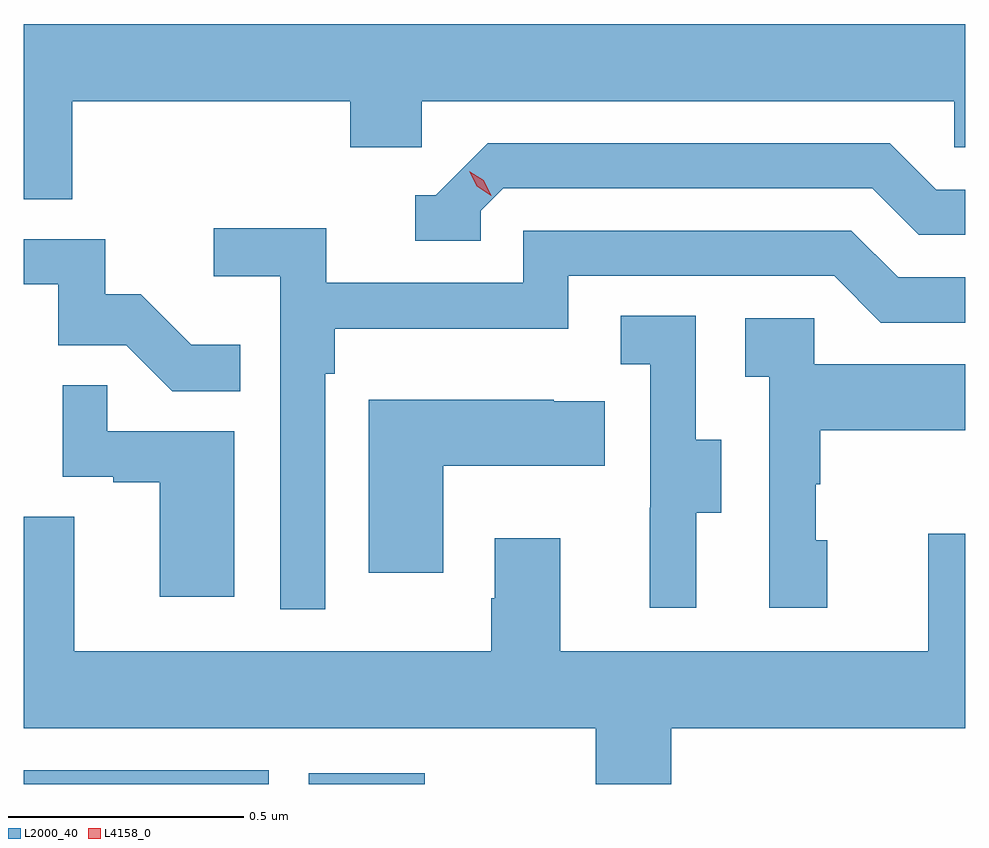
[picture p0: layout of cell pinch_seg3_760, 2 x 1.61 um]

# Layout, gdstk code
import gdstk
lib = gdstk.Library(unit=1e-6, precision=1e-09)
def R(c, l, rs):  # rectangles x0, y0, x1, y1
    for r in rs: c.add(gdstk.rectangle(r[:2], r[2:], *l))
def P(c, l, *ps):  # polygons
    for p in ps: c.add(gdstk.Polygon(p, *l))
L2000_40 = (2000, 40)
L4158_0 = (4158, 0)

pinch_seg3_760 = lib.new_cell('pinch_seg3_760')
R(pinch_seg3_760, L2000_40, [(853.921,739.426,854.442,739.455), (854.527,739.426,854.773,739.449)])
P(pinch_seg3_760, L2000_40, [(854.024,740.876),(854.615,740.876),(854.615,740.778),(854.766,740.778),(854.766,740.876),(855.897,740.876),(855.897,740.778),(855.921,740.778),(855.921,741.04),(853.921,741.04),(853.921,740.668),(854.024,740.668)],
  [(854.892,740.643),(854.94,740.691),(855.723,740.691),(855.822,740.592),(855.921,740.592),(855.921,740.688),(855.859,740.688),(855.76,740.787),(854.907,740.787),(854.796,740.676),(854.753,740.676),(854.753,740.58),(854.892,740.58)],
  [(854.562,740.297),(854.582,740.297),(854.582,740.393),(855.078,740.393),(855.078,740.505),(855.642,740.505),(855.741,740.406),(855.921,740.406),(855.921,740.502),(855.778,740.502),(855.679,740.601),(854.982,740.601),(854.982,740.49),(854.564,740.49),(854.564,740.606),(854.325,740.606),(854.325,740.504),(854.466,740.504),(854.466,739.797),(854.562,739.797)],
  [(854.381,740.359),(854.277,740.359),(854.17,740.466),(854.094,740.466),(854.094,740.583),(853.921,740.583),(853.921,740.487),(853.995,740.487),(853.995,740.358),(854.139,740.358),(854.237,740.26),(854.381,740.26)],
  [(855.349,740.002),(855.403,740.002),(855.403,740.157),(855.348,740.157),(855.348,740.42),(855.189,740.42),(855.189,740.317),(855.252,740.317),(855.252,740.013),(855.251,740.013),(855.251,739.8),(855.349,739.8)],
  [(855.628,739.944),(855.603,739.944),(855.603,740.063),(855.613,740.063),(855.613,740.177),(855.921,740.177),(855.921,740.317),(855.6,740.317),(855.6,740.415),(855.453,740.415),(855.453,740.291),(855.504,740.291),(855.504,739.8),(855.628,739.8)],
  [(854.368,740.175),(854.099,740.175),(854.099,740.273),(854.004,740.273),(854.004,740.079),(854.111,740.079),(854.111,740.067),(854.21,740.067),(854.21,739.824),(854.368,739.824)],
  [(854.812,740.102),(855.155,740.102),(855.155,740.239),(855.047,740.239),(855.047,740.242),(854.654,740.242),(854.654,739.875),(854.812,739.875)],
  [(855.296,739.544),(855.921,739.544),(855.921,739.957),(855.842,739.957),(855.842,739.708),(855.061,739.708),(855.061,739.948),(854.921,739.948),(854.921,739.82),(854.914,739.82),(854.914,739.708),(854.029,739.708),(854.029,739.994),(853.921,739.994),(853.921,739.544),(855.136,739.544),(855.136,739.426),(855.296,739.426)])
P(pinch_seg3_760, L4158_0, [(854.914,740.675),(854.883,740.695),(854.867,740.727),(854.867,740.727),(854.867,740.727),(854.898,740.708),(854.914,740.676),(854.914,740.675)])

lib.write_gds('pinch_seg3_760.gds')
